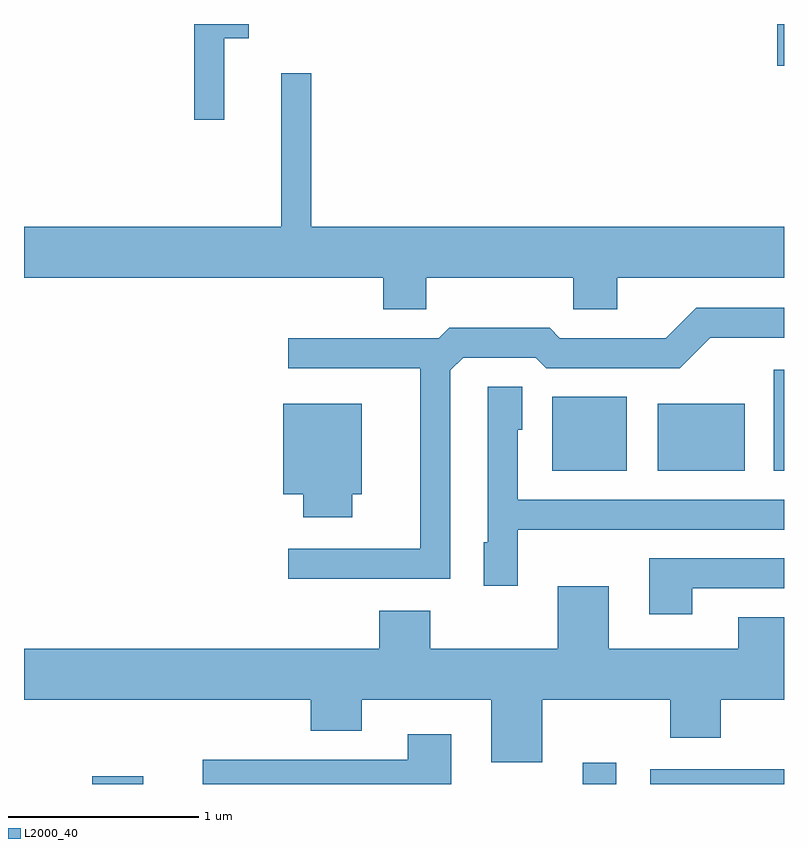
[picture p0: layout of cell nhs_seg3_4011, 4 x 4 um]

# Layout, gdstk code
import gdstk
lib = gdstk.Library(unit=1e-6, precision=1e-09)
def R(c, l, rs):  # rectangles x0, y0, x1, y1
    for r in rs: c.add(gdstk.rectangle(r[:2], r[2:], *l))
def P(c, l, *ps):  # polygons
    for p in ps: c.add(gdstk.Polygon(p, *l))
L2000_40 = (2000, 40)

nhs_seg3_4011 = lib.new_cell('nhs_seg3_4011')
R(nhs_seg3_4011, L2000_40, [(301.971,1249.892,302.239,1249.934), (304.551,1249.892,304.729,1250.004), (304.906,1249.892,305.611,1249.969), (304.391,1251.541,304.784,1251.929), (304.946,1251.541,305.404,1251.894), (305.556,1251.541,305.611,1252.073), (305.576,1253.671,305.611,1253.892)])
P(nhs_seg3_4011, L2000_40, [(302.664,1253.816),(302.794,1253.816),(302.794,1253.892),(302.506,1253.892),(302.506,1253.388),(302.664,1253.388)],
  [(303.729,1252.556),(304.501,1252.556),(304.501,1252.391),(304.734,1252.391),(304.734,1252.556),(305.611,1252.556),(305.611,1252.824),(303.124,1252.824),(303.124,1253.633),(302.966,1253.633),(302.966,1252.824),(301.611,1252.824),(301.611,1252.556),(303.501,1252.556),(303.501,1252.391),(303.729,1252.391)],
  [(303.854,1252.069),(303.922,1252.136),(304.304,1252.136),(304.359,1252.081),(305.062,1252.081),(305.222,1252.241),(305.611,1252.241),(305.611,1252.399),(305.149,1252.399),(304.989,1252.239),(304.432,1252.239),(304.377,1252.294),(303.849,1252.294),(303.794,1252.239),(303.003,1252.239),(303.003,1252.081),(303.696,1252.081),(303.696,1251.129),(303.003,1251.129),(303.003,1250.971),(303.854,1250.971)],
  [(304.209,1251.231),(305.611,1251.231),(305.611,1251.389),(304.209,1251.389),(304.209,1251.756),(304.234,1251.756),(304.234,1251.984),(304.051,1251.984),(304.051,1251.164),(304.031,1251.164),(304.031,1250.936),(304.209,1250.936)],
  [(303.339,1251.416),(303.389,1251.416),(303.389,1251.894),(302.976,1251.894),(302.976,1251.416),(303.081,1251.416),(303.081,1251.296),(303.339,1251.296)],
  [(305.129,1250.921),(305.611,1250.921),(305.611,1251.079),(304.901,1251.079),(304.901,1250.786),(305.129,1250.786)],
  [(304.339,1250.336),(305.011,1250.336),(305.011,1250.136),(305.279,1250.136),(305.279,1250.336),(305.611,1250.336),(305.611,1250.769),(305.371,1250.769),(305.371,1250.604),(304.689,1250.604),(304.689,1250.934),(304.421,1250.934),(304.421,1250.604),(303.749,1250.604),(303.749,1250.804),(303.481,1250.804),(303.481,1250.604),(301.611,1250.604),(301.611,1250.336),(303.121,1250.336),(303.121,1250.171),(303.389,1250.171),(303.389,1250.336),(304.071,1250.336),(304.071,1250.006),(304.339,1250.006)],
  [(303.859,1250.154),(303.631,1250.154),(303.631,1250.019),(302.551,1250.019),(302.551,1249.892),(303.859,1249.892)])

lib.write_gds('nhs_seg3_4011.gds')
